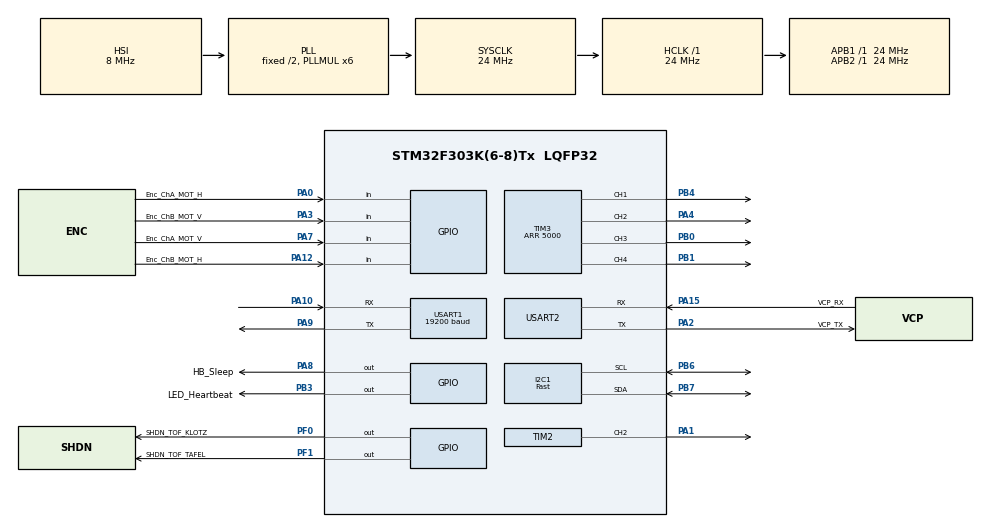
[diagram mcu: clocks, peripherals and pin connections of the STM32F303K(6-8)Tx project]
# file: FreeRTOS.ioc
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FREERTOS.BinarySemaphores01=myBinarySem01,Dynamic,NULL
FREERTOS.Tasks01=fsm_tsk,0,128,FSM_Task,Default,NULL,Dynamic,NULL,NULL;tof_tsk,0,128,TOF_Task,Default,NULL,Dynamic,NULL,NULL;radio_tsk,0,128,Radio_Task,Default,NULL,Dynamic,NULL,NULL;uart_tsk,0,128,UART_Task,Default,NULL,Dynamic,NULL,NULL;acc_tsk,0,128,Accel_Task,Default,NULL,Dynamic,NULL,NULL
FREERTOS.configGENERATE_RUN_TIME_STATS=1
FREERTOS.configTOTAL_HEAP_SIZE=6144
FREERTOS.configUSE_IDLE_HOOK=1
FREERTOS.configUSE_MALLOC_FAILED_HOOK=1
FREERTOS.configUSE_TRACE_FACILITY=1
I2C1.I2C_Speed_Mode=I2C_Fast
I2C1.Timing=0x0000020B
Mcu.Family=STM32F3
Mcu.Name=STM32F303K(6-8)Tx
Mcu.Package=LQFP32
NVIC.PriorityGroup=NVIC_PRIORITYGROUP_4
NVIC.TIM1_BRK_TIM15_IRQn=true\:5\:0\:false\:false\:true\:true\:true
NVIC.TIM7_DAC2_IRQn=true\:0\:0\:false\:false\:true\:false\:false
NVIC.TimeBase=TIM7_DAC2_IRQn
NVIC.TimeBaseIP=TIM7
NVIC.USART1_IRQn=true\:5\:0\:false\:false\:true\:true\:true
PA0.GPIO_Label=Enc_ChA_MOT_H
PA0.Signal=GPIO_Input
PA1.Signal=S_TIM2_CH2
PA10.Mode=Asynchronous
PA10.Signal=USART1_RX
PA12.GPIO_Label=Enc_ChB_MOT_H
PA12.Signal=GPIO_Input
PA13.GPIO_Label=SWDIO
PA13.Mode=Serial_Wire
PA13.Signal=SYS_JTMS-SWDIO
PA14.GPIO_Label=SWCLK
PA14.Mode=Serial_Wire
PA14.Signal=SYS_JTCK-SWCLK
PA15.GPIO_Label=VCP_RX
PA15.Mode=Asynchronous
PA15.Signal=USART2_RX
PA2.GPIO_Label=VCP_TX
PA2.Mode=Asynchronous
PA2.Signal=USART2_TX
PA3.GPIO_Label=Enc_ChB_MOT_V
PA3.Signal=GPIO_Input
PA4.Signal=S_TIM3_CH2
PA7.GPIO_Label=Enc_ChA_MOT_V
PA7.Signal=GPIO_Input
PA8.GPIO_Label=HB_Sleep
PA8.GPIO_PuPd=GPIO_PULLDOWN
PA8.Signal=GPIO_Output
PA9.Mode=Asynchronous
PA9.Signal=USART1_TX
PB0.Signal=S_TIM3_CH3
PB1.Signal=S_TIM3_CH4
PB3.GPIO_Label=LED_Heartbeat
PB3.Signal=GPIO_Output
PB4.Signal=S_TIM3_CH1
PB6.Mode=I2C
PB6.Signal=I2C1_SCL
PB7.Mode=I2C
PB7.Signal=I2C1_SDA
PF0\ /\ OSC_IN.GPIO_Label=SHDN_TOF_KLOTZ
PF0\ /\ OSC_IN.GPIO_PuPd=GPIO_PULLDOWN
PF0\ /\ OSC_IN.Signal=GPIO_Output
PF1\ /\ OSC_OUT.GPIO_Label=SHDN_TOF_TAFEL
PF1\ /\ OSC_OUT.GPIO_PuPd=GPIO_PULLDOWN
PF1\ /\ OSC_OUT.Signal=GPIO_Output
ProjectManager.HeapSize=0x200
ProjectManager.StackSize=0x400
ProjectManager.TargetToolchain=TrueSTUDIO
RCC.AHBFreq_Value=24000000
RCC.APB1Freq_Value=24000000
RCC.APB1TimFreq_Value=24000000
RCC.APB2Freq_Value=24000000
RCC.APB2TimFreq_Value=24000000
RCC.CortexFreq_Value=24000000
RCC.HCLKFreq_Value=24000000
RCC.HSE_VALUE=8000000
RCC.HSI_VALUE=8000000
RCC.PLLMUL=RCC_PLL_MUL6
RCC.SYSCLKFreq_VALUE=24000000
RCC.SYSCLKSourceVirtual=RCC_SYSCLKSOURCE_PLLCLK
RCC.Usart1ClockSelection=RCC_USART1CLKSOURCE_HSI
SH.S_TIM2_CH2.0=TIM2_CH2,PWM Generation2 CH2
SH.S_TIM3_CH1.0=TIM3_CH1,PWM Generation1 CH1
SH.S_TIM3_CH2.0=TIM3_CH2,PWM Generation2 CH2
SH.S_TIM3_CH3.0=TIM3_CH3,PWM Generation3 CH3
SH.S_TIM3_CH4.0=TIM3_CH4,PWM Generation4 CH4
TIM15.Period=1200
TIM2.Channel-PWM\ Generation2\ CH2=TIM_CHANNEL_2
TIM2.Period=480000
TIM3.Channel-PWM\ Generation1\ CH1=TIM_CHANNEL_1
TIM3.Channel-PWM\ Generation2\ CH2=TIM_CHANNEL_2
TIM3.Channel-PWM\ Generation3\ CH3=TIM_CHANNEL_3
TIM3.Channel-PWM\ Generation4\ CH4=TIM_CHANNEL_4
TIM3.Period=5000
USART1.BaudRate=19200
USART1.VirtualMode-Asynchronous=VM_ASYNC
USART2.VirtualMode-Asynchronous=VM_ASYNC
VP_FREERTOS_VS_ENABLE.Mode=Enabled
VP_SYS_VS_tim7.Mode=TIM7
VP_TIM15_VS_ClockSourceINT.Mode=Internal
board=NUCLEO-F303K8

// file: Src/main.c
/**
  ******************************************************************************
  * @file           : main.c
  * @brief          : Main program body
  ******************************************************************************
  * This notice applies to any and all portions of this file
  * that are not between comment pairs USER CODE BEGIN and
  * USER CODE END. Other portions of this file, whether
  * inserted by the user or by software development tools
  * are owned by their respective copyright owners.
  *
  * Copyright (c) 2019 STMicroelectronics International N.V.
  * All rights reserved.
  *
  * Redistribution and use in source and binary forms, with or without
  * modification, are permitted, provided that the following conditions are met:
  *
  * 1. Redistribution of source code must retain the above copyright notice,
  *    this list of conditions and the following disclaimer.
  * 2. Redistributions in binary form must reproduce the above copyright notice,
  *    this list of conditions and the following disclaimer in the documentation
  *    and/or other materials provided with the distribution.
  * 3. Neither the name of STMicroelectronics nor the names of other
  *    contributors to this software may be used to endorse or promote products
  *    derived from this software without specific written permission.
  * 4. This software, including modifications and/or derivative works of this
  *    software, must execute solely and exclusively on microcontroller or
  *    microprocessor devices manufactured by or for STMicroelectronics.
  * 5. Redistribution and use of this software other than as permitted under
  *    this license is void and will automatically terminate your rights under
  *    this license.
  *
  * THIS SOFTWARE IS PROVIDED BY STMICROELECTRONICS AND CONTRIBUTORS "AS IS"
  * AND ANY EXPRESS, IMPLIED OR STATUTORY WARRANTIES, INCLUDING, BUT NOT
  * LIMITED TO, THE IMPLIED WARRANTIES OF MERCHANTABILITY, FITNESS FOR A
  * PARTICULAR PURPOSE AND NON-INFRINGEMENT OF THIRD PARTY INTELLECTUAL PROPERTY
  * RIGHTS ARE DISCLAIMED TO THE FULLEST EXTENT PERMITTED BY LAW. IN NO EVENT
  * SHALL STMICROELECTRONICS OR CONTRIBUTORS BE LIABLE FOR ANY DIRECT, INDIRECT,
  * INCIDENTAL, SPECIAL, EXEMPLARY, OR CONSEQUENTIAL DAMAGES (INCLUDING, BUT NOT
  * LIMITED TO, PROCUREMENT OF SUBSTITUTE GOODS OR SERVICES; LOSS OF USE, DATA,
  * OR PROFITS; OR BUSINESS INTERRUPTION) HOWEVER CAUSED AND ON ANY THEORY OF
  * LIABILITY, WHETHER IN CONTRACT, STRICT LIABILITY, OR TORT (INCLUDING
  * NEGLIGENCE OR OTHERWISE) ARISING IN ANY WAY OUT OF THE USE OF THIS SOFTWARE,
  * EVEN IF ADVISED OF THE POSSIBILITY OF SUCH DAMAGE.
  *
  ******************************************************************************
  */
#include "stm32f3xx_hal.h"
#include <motor_v.h>
#include <motor_h.h>
#include <pid_v.h>
#include <pid_h.h>
#include <quad_v.h>
#include <quad_h.h>
#include <velocity_v.h>
#include <velocity_h.h>
#include "main.h"
#include "cmsis_os.h"
#include "i2c.h"
#include "tim.h"
#include "usart.h"
#include "gpio.h"

/* USER CODE BEGIN Includes */
#include "RadioModule.h"
#include "AccelSens_MMA8451.h"
#include "DistSens_VL6180X.h"
#include "servo.h"
#include "DataTransfer.h"
#include "SEGGER/SEGGER_SYSVIEW.h"

/* USER CODE END Includes */

/* USER CODE BEGIN PV */
/* Private variables ---------------------------------------------------------*/
/* USER CODE END PV */

void SystemClock_Config(void);
void MX_FREERTOS_Init(void);

/* USER CODE BEGIN PFP */
/* Private function prototypes -----------------------------------------------*/
void HAL_UART_RxCpltCallback(UART_HandleTypeDef *huart);
/* USER CODE END PFP */

/* USER CODE BEGIN 0 */

//*************TIMER variable declaration******************************************
//#define Timer3MaxCounterPeriod 500	//Variable mit der Timerperiode für die Berechnung des PWMs --> CubeMX Value
uint8_t tim15Count10ms = 0;				//Variable die im TIM15 overflow incrementiert wird und für eine 10ms Zeitbasis verwendet wird

//*************UART variable declaration******************************************

//Receive Data from Radio Module
uint8_t rx_dataUART1_RadioModule[]={0,0,0,0};	//Receive Data Buffer for Radio Moudl data
uint8_t receivedSpeedValue = 0;		//Calculated Speedvalue Group with rx_dataUART1_RadioModule
uint16_t pwmValue = 0;				//(not used) Finally used pwmValue for the pwm generation

//Receive DAta from Boardcomputer
uint8_t rx_dataUART1_Boardcomputer[]={0,0};
uint8_t storeFlagValue = 0;
uint8_t storeNextByte = 0;

//debugVariable
uint8_t tx_dataUART2[] = {0,0,0,0};		//Transmit Data Buffer for UART2 Debugging

// function before main to initialise
/*
void __attribute__ ((constructor)) premain()
{
	HAL_GPIO_WritePin(HB_Sleep_GPIO_Port, HB_Sleep_Pin, GPIO_PIN_RESET);
}*/

//******************************************************************************************
/* USER CODE END 0 */

int main(void)
{
  /* USER CODE BEGIN 1 */
	HAL_GPIO_WritePin(HB_Sleep_GPIO_Port, HB_Sleep_Pin, GPIO_PIN_RESET);
  /* USER CODE END 1 */

  /* MCU Configuration----------------------------------------------------------*/

  /* Reset of all peripherals, Initializes the Flash interface and the Systick. */
  HAL_Init();

  /* Configure the system clock */
  SystemClock_Config();

  /* Initialize all configured peripherals */
  MX_GPIO_Init();
  MX_USART2_UART_Init();
  MX_I2C1_Init();
  MX_USART1_UART_Init();
  MX_TIM3_Init();
  MX_TIM15_Init();
  MX_TIM2_Init();
  /* USER CODE BEGIN 2 */

  /* ***************H-Bridge Control************************
   * IN1 = 0 & IN2 = PWM 	--> Reverse
   * IN2 = 0 & IN1 = PWM 	--> Forward
   * IN1 = 1 & IN2 = 1		--> Brake
   *********************************************************/

  /*
   *Motor Regelung
   */
  Quad_V_Init();
  Quad_H_Init();
  Velo_V_Init();
  Velo_H_Init();
  PID_V_Init();
  PID_H_Init();
  Motor_V_Init();
  Motor_H_Init();
  Servo_Init();

  //If Sensortask enabled
#if SensorTaskEnable
  //Enable only the Tof for laoding the Wood-Klotz ;-)

  //This Config is now in FSM Startup Task
  //HAL_Delay(10);
  //HAL_GPIO_WritePin(GPIOF, SHDN_TOF_KLOTZ_Pin, GPIO_PIN_SET);
  //HAL_GPIO_WritePin(GPIOF, SHDN_TOF_TAFEL_Pin, GPIO_PIN_RESET);
  //VL6180X_Init();											//Init of VL6180X Distance Sensor Device

  if(MMA8451_Init()==TASK_OK){											//Init of MMA8451 Accel Sensor Device
	  HAL_GPIO_WritePin(LED_Heartbeat_GPIO_Port, LED_Heartbeat_Pin, GPIO_PIN_RESET);
  }
  else{
	  HAL_GPIO_WritePin(LED_Heartbeat_GPIO_Port, LED_Heartbeat_Pin, GPIO_PIN_SET);
  }
#endif

  /*
   * *****************UART1 Configuration*************************
   * UART1 RX @PA10 => D0		-		TX Pin of ER400TRS-02
   * UART1 TX @PA9 => D1		-		RX Pin of ER400TRS-02
   *
   * Baud rate 19200 Bit/s
   * 8 Data Bit
   * No Parity
   * 1 Stop Bit
   */
  //Interrupt enable for UART1 Receive Function "HAL_UART_RxCpltCallback(UART_HandleTypeDef *huart)"
#if FunkFernsteuer_BoardcomputerBetrieb
  HAL_UART_Receive_IT(&huart1, rx_dataUART1_RadioModule, 1);
#else
  HAL_UART_Receive_IT(&huart1, rx_dataUART1_Boardcomputer, 1);
#endif

  //***************************************************************

  /*
   * ****************Timer2 Configuration*************************
   * CHANNEL 2 @ PA1 => A1	-		Signal Wire of ServoMotor
   *
   * Clk_Source = 24MHz
   * Counter Period is 480'000 Counts
   * PWM Frequency = Clk_source/Counts = 24'000'000/480'000 = 50Hz
   *
   * This PWM Output is used for Servomotor control
   * Servo Angle-Control:
   * -45°	=> 1.1ms (PWM_Value = 11 * (480'000Counts / 200) = 26'400
   * 0°		=> 1.5ms (PWM_Value = 15 * (480'000Counts / 200) = 36'000
   * 45°	=> 1.9ms (PWM_Value = 19 * (480'000Counts / 200) = 45'600
   *
   * Interrupt Enabled
   */
  //timeBase Start for Interrupt
  HAL_TIM_Base_Start_IT(&htim2);

  //CHannel Enable
  HAL_TIM_PWM_Start_IT(&htim2, TIM_CHANNEL_2);

  //Channel Compare Value --> PWM Dutycycle
  __HAL_TIM_SET_COMPARE(&htim2, TIM_CHANNEL_2, 26400);				//Servomotor Default Position 0°
  //****************************************************************

  /*
   * ****************Timer3 Configuration**************************
   * CHANNEL 1 @ PB4 => D12		-		IN1	HBridge MotorV
   * CHANNEL 2 @ PA4 => A3		-		IN2	HBridge MotorV
   * CHANNEL 3 @ PB0 => D3		-		IN1 HBridge MotorH
   * CHANNEL 4 @ PB1 => D6		-		IN2	HBridge MotorH
   *
   *
   * Encoder MotorH
   * Enc_ChA_MOT_H @ PA0 	=> A0
   * Enc_ChB_MOT_H @ PA12 	=> D2
   *
   * * Encoder MotorV
   * Enc_ChA_MOT_V @ PA7 	=> A6
   * Enc_ChB_MOT_V @ PA3 	=> A2
   *
   * Clk_Source = 24MHz
   * Counter Period is 20'000 Counts --> Change in Header #define Timer3MaxCounterPeriod
   * PWM Frequency = Clk_source/Counts = 24'000'000/20'000 = 1200Hz
   *
   * Interrupt Enabled with PWM Frequency of 1200Hz
   */
  //TimeBase Start for Interrupt
  HAL_TIM_Base_Start_IT(&htim3);

  //CHannel Enable
  HAL_TIM_PWM_Start_IT(&htim3, TIM_CHANNEL_1);
  HAL_TIM_PWM_Start_IT(&htim3, TIM_CHANNEL_2);
  HAL_TIM_PWM_Start_IT(&htim3, TIM_CHANNEL_3);
  HAL_TIM_PWM_Start_IT(&htim3, TIM_CHANNEL_4);

  //Channel Compare Value --> PWM Dutycycle
  __HAL_TIM_SET_COMPARE(&htim3, TIM_CHANNEL_1, 0);
  __HAL_TIM_SET_COMPARE(&htim3, TIM_CHANNEL_2, 0);
  __HAL_TIM_SET_COMPARE(&htim3, TIM_CHANNEL_3, 0);
  __HAL_TIM_SET_COMPARE(&htim3, TIM_CHANNEL_4, 0);
  //****************************************************************

  //****************Timer15 Configuration**************************
  //				    Interrupt ONLY
  //TimeBase Start for Interrupt
  HAL_TIM_Base_Start_IT(&htim15);
  //********************************************************************

  SEGGER_SYSVIEW_Conf(); // Start SystemViewer

  /* USER CODE END 2 */

  /* Call init function for freertos objects (in freertos.c) */
  MX_FREERTOS_Init();

  /* Start scheduler */
  osKernelStart();

  /* We should never get here as control is now taken by the scheduler */

  /* Infinite loop */
  /* USER CODE BEGIN WHILE */
  /* USER CODE END 2 */

  while (1)
  {

  /* USER CODE END WHILE */

  }

}

void SystemClock_Config(void)
{

  RCC_OscInitTypeDef RCC_OscInitStruct;
  RCC_ClkInitTypeDef RCC_ClkInitStruct;
  RCC_PeriphCLKInitTypeDef PeriphClkInit;

    /**Initializes the CPU, AHB and APB busses clocks
    */
  RCC_OscInitStruct.OscillatorType = RCC_OSCILLATORTYPE_HSI;
  RCC_OscInitStruct.HSIState = RCC_HSI_ON;
  RCC_OscInitStruct.HSICalibrationValue = 16;
  RCC_OscInitStruct.PLL.PLLState = RCC_PLL_ON;
  RCC_OscInitStruct.PLL.PLLSource = RCC_PLLSOURCE_HSI;
  RCC_OscInitStruct.PLL.PLLMUL = RCC_PLL_MUL6;
  if (HAL_RCC_OscConfig(&RCC_OscInitStruct) != HAL_OK)
  {
    _Error_Handler(__FILE__, __LINE__);
  }

    /**Initializes the CPU, AHB and APB busses clocks
    */
  RCC_ClkInitStruct.ClockType = RCC_CLOCKTYPE_HCLK|RCC_CLOCKTYPE_SYSCLK
                              |RCC_CLOCKTYPE_PCLK1|RCC_CLOCKTYPE_PCLK2;
  RCC_ClkInitStruct.SYSCLKSource = RCC_SYSCLKSOURCE_PLLCLK;
  RCC_ClkInitStruct.AHBCLKDivider = RCC_SYSCLK_DIV1;
  RCC_ClkInitStruct.APB1CLKDivider = RCC_HCLK_DIV1;
  RCC_ClkInitStruct.APB2CLKDivider = RCC_HCLK_DIV1;

  if (HAL_RCC_ClockConfig(&RCC_ClkInitStruct, FLASH_LATENCY_0) != HAL_OK)
  {
    _Error_Handler(__FILE__, __LINE__);
  }

  PeriphClkInit.PeriphClockSelection = RCC_PERIPHCLK_USART1|RCC_PERIPHCLK_I2C1;
  PeriphClkInit.Usart1ClockSelection = RCC_USART1CLKSOURCE_HSI;
  PeriphClkInit.I2c1ClockSelection = RCC_I2C1CLKSOURCE_HSI;
  if (HAL_RCCEx_PeriphCLKConfig(&PeriphClkInit) != HAL_OK)
  {
    _Error_Handler(__FILE__, __LINE__);
  }

    /**Configure the Systick interrupt time
    */
  HAL_SYSTICK_Config(HAL_RCC_GetHCLKFreq()/1000);

    /**Configure the Systick
    */
  HAL_SYSTICK_CLKSourceConfig(SYSTICK_CLKSOURCE_HCLK);

  /* SysTick_IRQn interrupt configuration */
  HAL_NVIC_SetPriority(SysTick_IRQn, 15, 0);
}

/* USER CODE BEGIN 4 */
/*
 * Function is called after a complete Transmition of UART Data
 */
void HAL_UART_RxCpltCallback(UART_HandleTypeDef *huart){

#if FunkFernsteuer_BoardcomputerBetrieb

	HAL_UART_Receive_IT(&huart1, rx_dataUART1_RadioModule, 1);						//Restart Interrupt reception mode

	if(rx_dataUART1_RadioModule[0]>47 && rx_dataUART1_RadioModule[0]<56){			//rx_dataUART1_RadioModule with the received values between 48 an 55
		receivedSpeedValue = rx_dataUART1_RadioModule[0]-48;						//Speed group 0 - 7
		setSpeedGroupValue(receivedSpeedValue);										//Store Speedgroupvalue, used in ServoMotorTask
		//pwmValue = (uint16_t)((Timer3MaxCounterPeriod/7)*receivedSpeedValue);		//Final PWM Value from 0(0% duty cycle) to 20000(100% duty cycle);
	}

	//Über Funkmodul erhaltener Wert ist kein Geschwindigkeitswert sonder für die Drehrichtung
	else {
		setDrehrichtung(rx_dataUART1_RadioModule[0]);								//Valid Values: 108 /114
	}

	//Depending on Speedgroup (0-7) calculate the Motorvelocity in u/s
	if(receivedSpeedValue == 0){
		setfinalVelocity(0);
	}
	else if (receivedSpeedValue == 1){
		setfinalVelocity(200);
	}
	else if (receivedSpeedValue == 2){
		setfinalVelocity(400);
	}
	else if (receivedSpeedValue == 3){
		setfinalVelocity(600);
	}
	else if (receivedSpeedValue == 4){
		setfinalVelocity(1000);
	}
	else if (receivedSpeedValue == 5){
		setfinalVelocity(1500);
	}
	else if (receivedSpeedValue == 6){
		setfinalVelocity(2000);
	}
	else{
		setfinalVelocity(3000);
	}

	//Debug via UART2 Virtual Comport-------------
	//tx_dataUART2[0] = rx_dataUART1[0];//rx_dataUART1[0];
	//HAL_UART_Transmit(&huart2, tx_dataUART2, 1, 1000);
	//----------------------------------------------

	//First Steps were with UART2 via Virtual Comport
	//HAL_UART_Receive_IT(&huart2, rx_dataUART1, 1);				//restart Interrupt reception mode
	//HAL_UART_Transmit(&huart2, tx_data, 1, 1000);

#else
	//Real Code
	HAL_UART_Receive_IT(&huart1, rx_dataUART1_Boardcomputer, 1);	//Restart Interrupt reception mode

	//If one Byte before was the Sync Character
	if(storeNextByte == 1){
		setFlagStructure(rx_dataUART1_Boardcomputer[0]);			//Store the essential Data

		tx_dataUART2[0] = getFlagStructure().startSignal;
		tx_dataUART2[1] = getFlagStructure().finalHSerkannt;
		tx_dataUART2[2] = getFlagStructure().roundCounter;
		tx_dataUART2[3] = getFlagStructure().signalCounter;

		HAL_UART_Transmit(&huart2, tx_dataUART2, 4, 1000);

		//----------------------------------------------
	}

	if(rx_dataUART1_Boardcomputer[0]==0x7f && storeNextByte == 0){	//Sync-Caracter detected
		storeNextByte = 1;
	}
	else{
		storeNextByte = 0;
	}

#endif
}
/* USER CODE END 4 */

void HAL_TIM_PeriodElapsedCallback(TIM_HandleTypeDef *htim)
{
  if (htim->Instance == TIM7) {
    HAL_IncTick();
  }
  /* USER CODE BEGIN Callback 1 */
  else if(htim->Instance == TIM15){
  		tim15Count10ms++;											//Variable to create a 10ms Timebase

  		//Every 10ms
  		if(tim15Count10ms == 200){
  			Velo_V_Sample();
  			Velo_H_Sample();
  			tim15Count10ms=0;
  			PID_V_SetEnable(1);										//Enables the PID funciton in freertos.c --> MotorControl
  			PID_H_SetEnable(1);

  			incrementTimeMeasurmentValue();							//Variable for Timemeasurement
  		}
  		//Every 50us
  		Quad_V_Sample();
  		Quad_H_Sample();
  }
  /* USER CODE END Callback 1 */
}

void _Error_Handler(char *file, int line)
{
  while(1)
  {
  }
}

/************************ (C) COPYRIGHT STMicroelectronics *****END OF FILE****/

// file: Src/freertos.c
/* USER CODE BEGIN Header */
/**
  ******************************************************************************
  * File Name          : freertos.c
  * Description        : Code for freertos applications
  ******************************************************************************
  * This notice applies to any and all portions of this file
  * that are not between comment pairs USER CODE BEGIN and
  * USER CODE END. Other portions of this file, whether
  * inserted by the user or by software development tools
  * are owned by their respective copyright owners.
  *
  * Copyright (c) 2019 STMicroelectronics International N.V.
  * All rights reserved.
  *
  * Redistribution and use in source and binary forms, with or without
  * modification, are permitted, provided that the following conditions are met:
  *
  * 1. Redistribution of source code must retain the above copyright notice,
  *    this list of conditions and the following disclaimer.
  * 2. Redistributions in binary form must reproduce the above copyright notice,
  *    this list of conditions and the following disclaimer in the documentation
  *    and/or other materials provided with the distribution.
  * 3. Neither the name of STMicroelectronics nor the names of other
  *    contributors to this software may be used to endorse or promote products
  *    derived from this software without specific written permission.
  * 4. This software, including modifications and/or derivative works of this
  *    software, must execute solely and exclusively on microcontroller or
  *    microprocessor devices manufactured by or for STMicroelectronics.
  * 5. Redistribution and use of this software other than as permitted under
  *    this license is void and will automatically terminate your rights under
  *    this license.
  *
  * THIS SOFTWARE IS PROVIDED BY STMICROELECTRONICS AND CONTRIBUTORS "AS IS"
  * AND ANY EXPRESS, IMPLIED OR STATUTORY WARRANTIES, INCLUDING, BUT NOT
  * LIMITED TO, THE IMPLIED WARRANTIES OF MERCHANTABILITY, FITNESS FOR A
  * PARTICULAR PURPOSE AND NON-INFRINGEMENT OF THIRD PARTY INTELLECTUAL PROPERTY
  * RIGHTS ARE DISCLAIMED TO THE FULLEST EXTENT PERMITTED BY LAW. IN NO EVENT
  * SHALL STMICROELECTRONICS OR CONTRIBUTORS BE LIABLE FOR ANY DIRECT, INDIRECT,
  * INCIDENTAL, SPECIAL, EXEMPLARY, OR CONSEQUENTIAL DAMAGES (INCLUDING, BUT NOT
  * LIMITED TO, PROCUREMENT OF SUBSTITUTE GOODS OR SERVICES; LOSS OF USE, DATA,
  * OR PROFITS; OR BUSINESS INTERRUPTION) HOWEVER CAUSED AND ON ANY THEORY OF
  * LIABILITY, WHETHER IN CONTRACT, STRICT LIABILITY, OR TORT (INCLUDING
  * NEGLIGENCE OR OTHERWISE) ARISING IN ANY WAY OUT OF THE USE OF THIS SOFTWARE,
  * EVEN IF ADVISED OF THE POSSIBILITY OF SUCH DAMAGE.
  *
  ******************************************************************************
  */
/* USER CODE END Header */

#include "stm32f3xx_hal.h"
#include <motor_v.h>
#include <motor_h.h>
#include <pid_v.h>
#include <pid_h.h>
#include <quad_v.h>
#include <quad_h.h>
#include <velocity_v.h>
#include <velocity_h.h>
#include "FreeRTOS.h"
#include "task.h"
#include "main.h"
#include "cmsis_os.h"

/* USER CODE BEGIN Includes */
#include "AccelSens_MMA8451.h"
#include "DistSens_VL6180X.h"
#include "usart.h"
#include "RadioModule.h"
#include "tim.h"
#include "servo.h"
#include "fsm.h"
#include "DataTransfer.h"
/* USER CODE END Includes */

/* USER CODE BEGIN PD */
#define SlowVeloWurfel 150 // langsame Geschwindigkeit für Würfelaufnahme [mm/s]
#define SlowVeloHaltesignal 150 // langsame Geschwindigkeit für Haltesignal [mm/s]
#define MaxVelo 3000 // maximale Geschwindigkeit [mm/s]
#define MaxNbrSignals 10 // maximale Anzahl Signale auf der Strecke
#define MaxNbrRounds 3 // maximale Anzahl Runden
#define MaxLoadAttempts 2 // maximale Anzahl Würfelladeversuche
#define MaxTrackLength 24000 // maximale Streckenlänge [mm]
#define OffsetStartpos 1000 // Offset beim Retourfahren zur Startposition zur Verhinderung überfahren der Startposition [Ticks]
#define OffsetHaltesignal 80 // Offset Halten beim Haltesignal [mm]
#define OffsetWurfel 20 // Offset Vorfahren beim Würfel [mm]

//fsm State wurde von Default Task hierher verschoben, damit im sendDataToRaspy Task darauf zugegriffen werden kann
enum fsm fsm_state; // create enum for statemachine task

/* USER CODE END PD */

osThreadId fsm_tskHandle;
osThreadId tof_tskHandle;
osThreadId radio_tskHandle;
osThreadId uart_tskHandle;
osThreadId acc_tskHandle;
osSemaphoreId myBinarySem01Handle;

void FSM_Task(void const * argument);
void TOF_Task(void const * argument);
void Radio_Task(void const * argument);
void UART_Task(void const * argument);
void Accel_Task(void const * argument);

void MX_FREERTOS_Init(void); /* (MISRA C 2004 rule 8.1) */

/* Hook prototypes */
void configureTimerForRunTimeStats(void);
unsigned long getRunTimeCounterValue(void);
void vApplicationIdleHook(void);
void vApplicationMallocFailedHook(void);

/* USER CODE BEGIN 1 */
uint32_t TickCounter = 0;
uint8_t suspendSensorTask = 1; 		//0: Task is Running   / 1: Task suspended
/* Functions needed when configGENERATE_RUN_TIME_STATS is on */
__weak void configureTimerForRunTimeStats(void)
{
	TickCounter = 0;
}

__weak unsigned long getRunTimeCounterValue(void)
{
	return TickCounter++;
}
/* USER CODE END 1 */

/* USER CODE BEGIN 2 */
__weak void vApplicationIdleHook( void )
{
   /* vApplicationIdleHook() will only be called if configUSE_IDLE_HOOK is set
   to 1 in FreeRTOSConfig.h. It will be called on each iteration of the idle
   task. It is essential that code added to this hook function never attempts
   to block in any way (for example, call xQueueReceive() with a block time
   specified, or call vTaskDelay()). If the application makes use of the
   vTaskDelete() API function (as this demo application does) then it is also
   important that vApplicationIdleHook() is permitted to return to its calling
   function, because it is the responsibility of the idle task to clean up
   memory allocated by the kernel to any task that has since been deleted. */
}
/* USER CODE END 2 */

/* USER CODE BEGIN 5 */
__weak void vApplicationMallocFailedHook(void)
{
   /* vApplicationMallocFailedHook() will only be called if
   configUSE_MALLOC_FAILED_HOOK is set to 1 in FreeRTOSConfig.h. It is a hook
   function that will get called if a call to pvPortMalloc() fails.
   pvPortMalloc() is called internally by the kernel whenever a task, queue,
   timer or semaphore is created. It is also called by various parts of the
   demo application. If heap_1.c or heap_2.c are used, then the size of the
   heap available to pvPortMalloc() is defined by configTOTAL_HEAP_SIZE in
   FreeRTOSConfig.h, and the xPortGetFreeHeapSize() API function can be used
   to query the size of free heap space that remains (although it does not
   provide information on how the remaining heap might be fragmented). */
}
/* USER CODE END 5 */

void MX_FREERTOS_Init(void) {

  /* Create the semaphores(s) */
  /* definition and creation of myBinarySem01 */
  osSemaphoreDef(myBinarySem01);
  myBinarySem01Handle = osSemaphoreCreate(osSemaphore(myBinarySem01), 1);

  /* Create the thread(s) */
  /* definition and creation of fsm_tsk */
  osThreadDef(fsm_tsk, FSM_Task, osPriorityNormal, 0, 128);
  fsm_tskHandle = osThreadCreate(osThread(fsm_tsk), NULL);

  /* definition and creation of tof_tsk */
  osThreadDef(tof_tsk, TOF_Task, osPriorityNormal, 0, 128);
  tof_tskHandle = osThreadCreate(osThread(tof_tsk), NULL);

  /* definition and creation of radio_tsk */
  osThreadDef(radio_tsk, Radio_Task, osPriorityNormal, 0, 128);
  radio_tskHandle = osThreadCreate(osThread(radio_tsk), NULL);

  /* definition and creation of uart_tsk */
  osThreadDef(uart_tsk, UART_Task, osPriorityNormal, 0, 128);
  uart_tskHandle = osThreadCreate(osThread(uart_tsk), NULL);

  /* definition and creation of acc_tsk */
  osThreadDef(acc_tsk, Accel_Task, osPriorityNormal, 0, 128);
  acc_tskHandle = osThreadCreate(osThread(acc_tsk), NULL);

}

void FSM_Task(void const * argument)
{

  /* USER CODE BEGIN FSM_Task */

	fsm_state = STARTUP; // Default State -> Startup
	uint32_t fsm_state_test;

	taskState_t taskState;
	taskState = TASK_RUNNING;

	uint8_t wurfelCtr = 0; // Zähler Anzahl Ladeversuche

	int32_t posStart = 0;	// Positionsmerker bei Startsignal
	int32_t posFinalesHaltesignal = 0; // Positionsmerker bei warten auf finales Haltesignal
	int32_t posWurfel = 0;	// Positionsmerker bei Würfel erkannt
	int32_t posHaltesignal = 0; // Positionsmerker Haltesignal erkannt
	int32_t distHaltesignal = 0; // Distanz zum Haltesignal

	uint32_t servoCtr = 0; // Zähler um Servo langsam zu bewegen

	uint8_t servoAngle = 0; // Winkelmerker Servo
	uint16_t speed = 0; // Geschwindigkeit der Motoren

	uint8_t tryAgain = 0; 	//Würfel konnte nach 3 mal nicht geladen werden--> Das ganze noch mal Versuchen

	/* Infinite loop */
	for(;;)
	{

	#if FSMTaskEnable

		//Statemachine acc. to PREN1 Documentation p.24
		switch(fsm_state){
		// Warten auf Startbefehl von Raspi
		case STARTUP:
			//getStartSignal is available with the function_call "flags_UartData_t getFlagStructure(void)" see for more info in usart.h
			if (getFlagStructure().startSignal){
				HAL_GPIO_WritePin(GPIOF, SHDN_TOF_KLOTZ_Pin, GPIO_PIN_SET); // Tof Klotz enable
				HAL_GPIO_WritePin(GPIOF, SHDN_TOF_TAFEL_Pin, GPIO_PIN_RESET); // Tof Tafel disable
				resetDistanceValue(); // Reset Distance Value for next measurement
				VL6180X_Init();
				suspendSensorTask=0; //Enable Sensor Task
				startTimeMeasurment();

				//Enable H-Bridge Module of Motor1 and Motor2
				HAL_GPIO_WritePin(HB_Sleep_GPIO_Port, HB_Sleep_Pin, GPIO_PIN_SET);
				posStart=Quad_V_GetPos();
				startTimeMeasurment();			//Zeitmessung beginnen für Abbruchkriterium des Tasks

				HAL_GPIO_WritePin(LED_Heartbeat_GPIO_Port, LED_Heartbeat_Pin, GPIO_PIN_RESET);
				fsm_state = WURFEL_ERKENNEN;
			}

			#if WuerfelerkenneUndLaden_TEST
			HAL_GPIO_WritePin(GPIOF, SHDN_TOF_KLOTZ_Pin, GPIO_PIN_SET); // Tof Klotz enable
			HAL_GPIO_WritePin(GPIOF, SHDN_TOF_TAFEL_Pin, GPIO_PIN_RESET); // Tof Tafel disable
			resetDistanceValue(); // Reset Distance Value for next measurement
			VL6180X_Init();
			suspendSensorTask=0; //Enable Sensor Task
			startTimeMeasurment();

			//Enable H-Bridge Module of Motor1 and Motor2
			HAL_GPIO_WritePin(HB_Sleep_GPIO_Port, HB_Sleep_Pin, GPIO_PIN_SET);
			startTimeMeasurment();					//Zeitmessung beginnen für Abbruchkriterium des Tasks

			HAL_GPIO_WritePin(LED_Heartbeat_GPIO_Port, LED_Heartbeat_Pin, GPIO_PIN_RESET);
			fsm_state = WURFEL_ERKENNEN;
			#endif
			break;

		// Warten bis Würfel erkennt wird
		case WURFEL_ERKENNEN:
			PID_V_Velo(SlowVeloWurfel); //Mit langsamer Geschwindigkeit fahren
			PID_H_Velo(SlowVeloWurfel);

			taskState = tof_erkennen(130); //Versuche den Wüfel in einer Distanz bis zu 13cm zu erkennen

			if(taskState == TASK_OK){
				HAL_GPIO_WritePin(LED_Heartbeat_GPIO_Port, LED_Heartbeat_Pin, GPIO_PIN_SET);
				//fsm_state = SERVO_RUNTER;
				posWurfel=Quad_V_GetPos() + ((OffsetWurfel * iGetriebe * TicksPerRev) / (Wirkumfang)); // Umrechnung Millimeter in Ticks
				fsm_state = WURFEL_VORFAHREN;
			}
			else if(taskState == TASK_TIME_OVERFLOW){ // Würfel nicht erkannt
				fsm_state = STARTPOSITION;
			}
			else{}

			break;

		// Vorfahren bis zur Würfelmitte
		case WURFEL_VORFAHREN:
			PID_V_Velo(SlowVeloWurfel); //Mit langsamer Geschwindigkeit fahren
			PID_H_Velo(SlowVeloWurfel);

			if (Quad_V_GetPos()>=posWurfel){
				Motor_V_Break();
				Motor_H_Break();
				fsm_state = SERVO_RUNTER;
			}
			break;

		// Lademechanismus nach unten fahren
		// Der Winkel wird alle 50ms um 1° erhöht.
		case SERVO_RUNTER:
			servoCtr++;
			if (servoCtr>=5){
				servoCtr=0;
				servoAngle = Servo_GetAngle(); 	// Winkel auslesen
				Servo_SetAngle(++servoAngle); 	// Winkel vergrössern
				if (servoAngle >= 90){
					fsm_state = SERVO_RAUF;
				}
			}
			break;

		// Lademechanismus nach oben fahren
		// Der Winkel wird alle 50ms um 1° verringert.
		case SERVO_RAUF:
			servoCtr++;
			if (servoCtr>=5){
				servoCtr=0;
				servoAngle = Servo_GetAngle(); // Winkel auslesen
				Servo_SetAngle(--servoAngle); // Winkel verkleinern
				if (servoAngle <= 0){
					__HAL_TIM_SET_COMPARE(&htim2, TIM_CHANNEL_2, 0);		//Entlastet PWM von Servomotor, damit am Anschlag nicht weitergefahren wird.
					startTimeMeasurment();
					fsm_state = WURFEL_KONTROLLE;
				}
			}
			break;

		// Kontrolle Würfel geladen
		// Falls er erfolgreich geladen wurde, wird die Startposition angefahren
		// Falls nicht geladen, werden weitere Ladeversuche gestartet
		case WURFEL_KONTROLLE:
			taskState=tof_erkennen(40);
			if(taskState==TASK_OK){  // Wenn Objekt in einem Abstand von bis zu 4cm erkannt wurde --> Würfel geladen
				wurfelCtr=0;
				fsm_state = STARTPOSITION;
			}
			else{
				wurfelCtr++;
				if (wurfelCtr >= MaxLoadAttempts){ // maximale Anzahl Versuche erreicht
					wurfelCtr=0;
					fsm_state = STARTPOSITION;
				}
				else{
					//Versuche erneut den Würfel zu greifen
					fsm_state = SERVO_RUNTER;
				}
			}
			break;

		// Startposition anfahren -> Anlauf holen
		case STARTPOSITION:
			PID_V_Velo(-SlowVeloWurfel); // Mit langsamer Geschwindigkeit an die ursprüngliche Position zurück fahren
			PID_H_Velo(-SlowVeloWurfel);

			//Wenn die ursprüngliche Position beim zurückfahren erreicht wurde
			if ((Quad_V_GetPos()<(posStart+OffsetStartpos) && taskState==TASK_OK)||(Quad_V_GetPos()<(posStart+OffsetStartpos) && tryAgain ==1)){	//Konnte der Wüfel nach max. 3 Versuchen geladen werden?
				Motor_V_Break();
				Motor_H_Break();
				suspendSensorTask=1; //Task suspended
				osDelay(10);
				HAL_GPIO_WritePin(GPIOF, SHDN_TOF_KLOTZ_Pin, GPIO_PIN_RESET); // Tof Klotz disable
				fsm_state = SCHNELLFAHRT;
			}
			else if((Quad_V_GetPos()<(posStart+OffsetStartpos) && tryAgain==0)){	//Würfel konnte nach 3 Versuchen nicht geladen werden
				//Versuche noch einmal den Würfel zu erkennen
				tryAgain = 1;
				Motor_V_Break();
				Motor_H_Break();
				startTimeMeasurment();
				fsm_state = WURFEL_ERKENNEN;
			}
			break;

		// Schnellfahrt (Beschleunigen und Abbruchkriterien checken)
		case SCHNELLFAHRT:
			//Geschwindigkeitsrampe bis max.Speed
			speed+=10;
			if (speed >= MaxVelo){
				speed = MaxVelo;
			}
			PID_V_Velo(speed);
			PID_H_Velo(speed);

			// Anzahl Runden erreicht
			/*
			if (getFlagStructure().roundCounter >= MaxNbrRounds){
				fsm_state = BREMSEN;
			}
			 // Zu viele Signale erkannt
			else if (getFlagStructure().signalCounter >= MaxNbrSignals){
				fsm_state = BREMSEN;
			}
			// Gemessene Strecke grösser als maximale Streckenlänge
			else*/
			if ((Quad_V_GetPos()-posStart)>=((MaxTrackLength * iGetriebe * TicksPerRev) / (Wirkumfang))){
				fsm_state = BREMSEN;
			}
			break;

		// Abbremsen zur Haltesignalerkennung
		case BREMSEN:
			speed-=20;
			if (speed <= SlowVeloHaltesignal){
				posFinalesHaltesignal = Quad_V_GetPos(); // Position merken
				fsm_state = FINALES_HALTESIGNAL;
			}
			PID_V_Velo(speed);
			PID_H_Velo(speed);
			break;

		// Warten auf Signal finales Haltesignal erkannt von Raspi
		case FINALES_HALTESIGNAL:
			PID_V_Velo(SlowVeloHaltesignal);
			PID_H_Velo(SlowVeloHaltesignal);
			//Annahme, dass finales Haltesignal nie erkannt wird --> Bsp. Signal Counter bleit konstant...
			//Abbruchbedingung für Schwenken der weissen Flagge definieren...
			//ToDo

			if ((getFlagStructure().finalHSerkannt) /*|| (getFlagStructure().roundCounter<MaxNbrRounds)*/){ // finales Haltesignal erkannt oder Raspberry abgekratzt
				HAL_GPIO_WritePin(GPIOF, SHDN_TOF_TAFEL_Pin, GPIO_PIN_SET); // Tof Tafel enable
				resetDistanceValue(); // Reset Distance Value for next measurement
				VL6180X_Init();
				suspendSensorTask=0; //Enable Sensor Task
				startTimeMeasurment();
				fsm_state = HALTESIGNAL_ANFAHREN;
				PID_V_ClearError();
				PID_H_ClearError();
			}
			// falls eine ganze Strecke abgefahren wurde und kein Haltesignal von Raspberry erhalten wurde
			/*
			else if	((Quad_V_GetPos()-posFinalesHaltesignal)>=(((MaxTrackLength/2) * iGetriebe * TicksPerRev) / (Wirkumfang))){
				HAL_GPIO_WritePin(GPIOF, SHDN_TOF_TAFEL_Pin, GPIO_PIN_SET); // Tof Tafel enable
				resetDistanceValue(); // Reset Distance Value for next measurement
				VL6180X_Init();
				suspendSensorTask=0; //Enable Sensor Task
				startTimeMeasurment();
				fsm_state = HALTESIGNAL_ANFAHREN;
				PID_V_ClearError();
				PID_H_ClearError();
			}*/

			/*
			HAL_GPIO_WritePin(GPIOF, SHDN_TOF_TAFEL_Pin, GPIO_PIN_SET); // Tof Tafel enable
			resetDistanceValue(); // Reset Distance Value for next measurement
			VL6180X_Init();
			suspendSensorTask=0; //Enable Sensor Task
			startTimeMeasurment();
			fsm_state = HALTESIGNAL_ANFAHREN;
			PID_V_ClearError();
			PID_H_ClearError();
			*/

			#if WuerfelerkenneUndLaden_TEST
				HAL_GPIO_WritePin(GPIOF, SHDN_TOF_TAFEL_Pin, GPIO_PIN_SET); // Tof Tafel enable
				resetDistanceValue(); // Reset Distance Value for next measurement
				VL6180X_Init();
				suspendSensorTask=0; //Enable Sensor Task
				startTimeMeasurment();
				fsm_state = HALTESIGNAL_ANFAHREN;
				PID_V_ClearError();
				PID_H_ClearError();
			#endif
			break;

		// Haltesignal mit TOF erkennen
		case HALTESIGNAL_ANFAHREN:
			PID_V_Velo(SlowVeloHaltesignal);
			PID_H_Velo(SlowVeloHaltesignal);
			taskState=tof_erkennen(100);

			if(taskState==TASK_OK){
				HAL_GPIO_WritePin(GPIOF, SHDN_TOF_TAFEL_Pin, GPIO_PIN_RESET); // Tof Tafel disable
				distHaltesignal=(((getDistanceValue()-OffsetHaltesignal) * iGetriebe * TicksPerRev) / (Wirkumfang)); // Umrechnung Millimeter in Ticks
				posHaltesignal=Quad_V_GetPos()+distHaltesignal; // Speicherung Position Haltesignal
				fsm_state = HALTESIGNAL_STOPPEN;
			}
			else if(taskState==TASK_TIME_OVERFLOW){
				//Was machen wir wenn das Haltesignal nicht erkannt wird???
				HAL_GPIO_WritePin(GPIOF, SHDN_TOF_TAFEL_Pin, GPIO_PIN_RESET); // Tof Tafel disable
				posHaltesignal=Quad_V_GetPos(); // Speicherung Position Haltesignal
				fsm_state = HALTESIGNAL_STOPPEN;
			}
			else{
				//Task is Running
			}
			break;

		// Positionregelung vor Haltesignal
		case HALTESIGNAL_STOPPEN:
			PID_V_Velo(SlowVeloHaltesignal);
			PID_H_Velo(SlowVeloHaltesignal);
			if (Quad_V_GetPos()>=posHaltesignal){
				Motor_V_Break();
				Motor_H_Break();
				HAL_GPIO_WritePin(HB_Sleep_GPIO_Port, HB_Sleep_Pin, GPIO_PIN_RESET); // Disable H-Bridge
				fsm_state = STOP;
			}
			/*
			PID_Pos(posHaltesignal);
			if (PID_InPos()){
				fsm_state = STOP;
			}*/
			break;

		// Warten bis Startsignal von Raspi zurückgenommen wird
		case STOP:
			if (!(getFlagStructure().startSignal)){	//!getStartSignal() Was meinst du mit dem Andi?
				fsm_state = STARTUP;
			}
			//fsm_state = fsm_state;

			break;
		}
		fsm_state_test=fsm_state;
		osDelay(10);

	#else
	  osDelay(9000);
	#endif
	}

  /* USER CODE END FSM_Task */
}

void TOF_Task(void const * argument)
{
  /* USER CODE BEGIN TOF_Task */

	/* Infinite loop */
	for(;;)
	{
		#if SensorTaskEnable
		if(suspendSensorTask==0){
			if(measureDistanceValue()==TASK_OK){}
			osDelay(10);
		}

		else{
			//Error Handling ist still ToDo
			osDelay(10);
		}
		#else
			osDelay(9000);
		#endif
	}
  /* USER CODE END TOF_Task */
}

void Radio_Task(void const * argument)
{
  /* USER CODE BEGIN Radio_Task */
	uint8_t firstForwardCount =0;		//Bremst motor vor Seitenwechsel
		uint8_t firstReverseCount = 0;		//dito

		//Allow H_Bridge to Control the Motors
	#if FunkFernsteuer_BoardcomputerBetrieb
		HAL_GPIO_WritePin(HB_Sleep_GPIO_Port, HB_Sleep_Pin, GPIO_PIN_SET);
	#endif

	/* Infinite loop */
	for(;;)
	{
		#if FunkFernsteuer_BoardcomputerBetrieb

		//Drehrichtung FORWARD
		if(getDrehrichtung() == 108){

			firstReverseCount = 0;

			//Break function
			if(firstForwardCount==0){
				firstForwardCount++;
				Motor_V_Break();
				Motor_H_Break();
				osDelay(1000);
			}
			else{													//Drive with UART1 received pwmValue
				if(PID_V_GetEnable()==1){
					PID_V_Velo((-1)*getfinalVelocity());
					PID_H_Velo((-1)*getfinalVelocity());
					PID_V_SetEnable(0);
					PID_H_SetEnable(0);
					}
				}
			}

		//Drehrichtung REVERSE
		else if(getDrehrichtung() == 114){
			firstForwardCount = 0;

			//Break function
			if(firstReverseCount==0){
				firstReverseCount++;
				Motor_V_Break();
				Motor_H_Break();
				osDelay(1000);
			}
			else{												//Drive with UART1 received pwmVlue
				//Nur alle 10ms!
				if(PID_V_GetEnable()==1){
					PID_V_Velo(getfinalVelocity());
					PID_H_Velo(getfinalVelocity());
					PID_V_SetEnable(0);
					PID_H_SetEnable(0);
				}
			}
		}

		//Imlement a Error Handler witch sets de "drehrichtung" value to 0, if we dont receive Interrupts from UART1
		//--> Not implemented yet
		else{
			__HAL_TIM_SET_COMPARE(&htim3, TIM_CHANNEL_3, 0);
			__HAL_TIM_SET_COMPARE(&htim3, TIM_CHANNEL_4, 0);

		}
		osDelay(10);
		#else
	  	osDelay(9000);
		#endif
	}
  /* USER CODE END Radio_Task */
}

void UART_Task(void const * argument)
{
  /* USER CODE BEGIN UART_Task */
	/* Infinite loop */

	uint8_t UartSendBuffer[1];
	UartSendBuffer[0] = 0x21;	//Opcode of UART Spec: Respond all Sensor Data

	uint16_t X_Accel_buffer=0;
	uint16_t Y_Accel_buffer=0;
	uint16_t Z_Accel_buffer=0;
	uint8_t changeSendByte=0;

	for(;;)
	{
		#if UARTSendRaspyData
		switch(changeSendByte){
			case 0:
				UartSendBuffer[0] = 0x21;	//Opcode
				changeSendByte++;
				break;
			case 1:
				UartSendBuffer[0] = 0;		//TOF 1: Fail, its not possible to read out both Distance Sensors...
				changeSendByte++;
				break;
			case 2:
				UartSendBuffer[0] = getDistanceValue();	//Actual TOF
				changeSendByte++;
				break;
			case 3:
				X_Accel_buffer = getXValue();
				UartSendBuffer[0] = (uint8_t) (X_Accel_buffer >> 8);		//X_Accel_high
				changeSendByte++;
				break;
			case 4:
				UartSendBuffer[0] = (uint8_t) (X_Accel_buffer & 0xff);		//X_Accel_low
				changeSendByte++;
				break;
			case 5:
				Y_Accel_buffer = getYValue();
				UartSendBuffer[0] = (uint8_t) (Y_Accel_buffer >> 8);		//Y_Accel_high
				changeSendByte++;
				break;
			case 6:
				UartSendBuffer[0] = (uint8_t) (Y_Accel_buffer & 0xff);		//Y_Accel_low
				changeSendByte++;
				break;
			//Acc. to Interface Spec. UART should case 7 be Speed High Data
			case 7:
				Z_Accel_buffer = getZValue();
				UartSendBuffer[0] = (uint8_t) (Z_Accel_buffer >> 8);		//Z_Accel_high
				changeSendByte++;
				break;
			//Acc. to Interface Spec. UART should case 7 be Speed Low Data
			case 8:
				UartSendBuffer[0] = (uint8_t) (Z_Accel_buffer & 0xff);		//Z_Accel_low
				changeSendByte++;
				break;
			case 9:
				UartSendBuffer[0] = Servo_GetAngle();		//Actual Servo Angle
				changeSendByte++;
				break;
			case 10:
				UartSendBuffer[0] = fsm_state;				//Actual FSM State
				changeSendByte=0;
				break;
		}
		#if !SensorTaskEnable
			UartSendBuffer[3] = 0;
			UartSendBuffer[4] = 0;
			UartSendBuffer[5] = 0;
			UartSendBuffer[6] = 0;
			UartSendBuffer[7] = 0;
			UartSendBuffer[8] = 0;
		#endif

		HAL_UART_Transmit(&huart1, UartSendBuffer, 1, 1000);

		//*********Virtual Comport UART Debug**************
		HAL_UART_Transmit(&huart2, UartSendBuffer, 1, 1000);
		//*************************************************
		osDelay(200);
		#else
		osDelay(9000);
		#endif
	}
  /* USER CODE END UART_Task */
}

void Accel_Task(void const * argument)
{
  /* USER CODE BEGIN Accel_Task */
	/* Infinite loop */
	for(;;)
	{
#if SensorTaskEnable
		if(measureAccel3AxisValues()==TASK_OK){
			//testInt = getZValue();
		}
		osDelay(10);
#else
		osDelay(9000);
#endif
  }
  /* USER CODE END Accel_Task */
}

/************************ (C) COPYRIGHT STMicroelectronics *****END OF FILE****/
